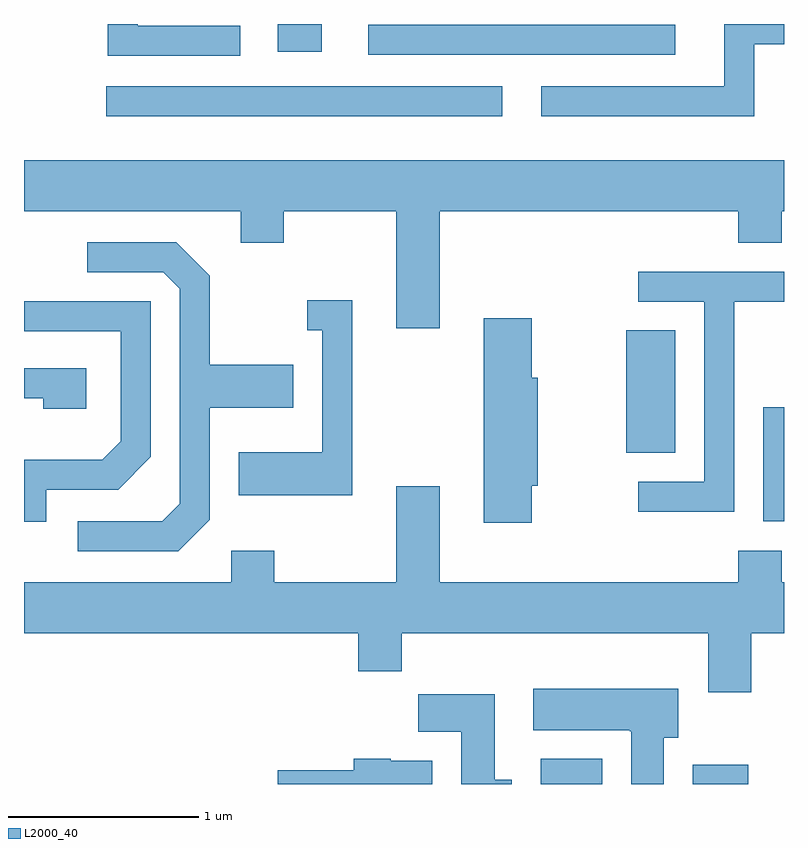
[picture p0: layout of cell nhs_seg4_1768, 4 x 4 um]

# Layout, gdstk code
import gdstk
lib = gdstk.Library(unit=1e-6, precision=1e-09)
def R(c, l, rs):  # rectangles x0, y0, x1, y1
    for r in rs: c.add(gdstk.rectangle(r[:2], r[2:], *l))
def P(c, l, *ps):  # polygons
    for p in ps: c.add(gdstk.Polygon(p, *l))
L2000_40 = (2000, 40)

nhs_seg4_1768 = lib.new_cell('nhs_seg4_1768')
R(nhs_seg4_1768, L2000_40, [(240.331,1253.982,240.654,1254.114), (241.131,1253.982,241.424,1254.084), (241.501,1255.366,241.611,1255.964), (240.781,1255.726,241.039,1256.369), (238.043,1257.496,240.128,1257.654), (239.423,1257.821,241.038,1257.979), (238.946,1257.836,239.179,1257.982)])
P(nhs_seg4_1768, L2000_40, [(241.454,1257.876),(241.611,1257.876),(241.611,1257.982),(241.296,1257.982),(241.296,1257.654),(240.333,1257.654),(240.333,1257.496),(241.454,1257.496)],
  [(238.748,1257.974),(238.209,1257.974),(238.209,1257.982),(238.051,1257.982),(238.051,1257.816),(238.748,1257.816)],
  [(239.799,1256.996),(241.371,1256.996),(241.371,1256.831),(241.599,1256.831),(241.599,1256.996),(241.611,1256.996),(241.611,1257.264),(237.611,1257.264),(237.611,1256.996),(238.751,1256.996),(238.751,1256.831),(238.979,1256.831),(238.979,1256.996),(239.571,1256.996),(239.571,1256.381),(239.799,1256.381)],
  [(238.589,1255.374),(238.589,1255.961),(239.029,1255.961),(239.029,1256.189),(238.589,1256.189),(238.589,1256.657),(238.412,1256.834),(237.943,1256.834),(237.943,1256.676),(238.344,1256.676),(238.431,1256.589),(238.431,1255.457),(238.339,1255.364),(237.893,1255.364),(237.893,1255.206),(238.422,1255.206)],
  [(241.349,1256.521),(241.611,1256.521),(241.611,1256.679),(240.843,1256.679),(240.843,1256.521),(241.191,1256.521),(241.191,1255.574),(240.843,1255.574),(240.843,1255.416),(241.349,1255.416)],
  [(239.339,1256.529),(239.103,1256.529),(239.103,1256.371),(239.181,1256.371),(239.181,1255.729),(238.741,1255.729),(238.741,1255.501),(239.339,1255.501)],
  [(237.729,1255.531),(238.107,1255.531),(238.279,1255.704),(238.279,1256.524),(237.611,1256.524),(237.611,1256.366),(238.121,1256.366),(238.121,1255.787),(238.024,1255.689),(237.611,1255.689),(237.611,1255.361),(237.729,1255.361)],
  [(240.284,1255.551),(240.314,1255.551),(240.314,1256.119),(240.284,1256.119),(240.284,1256.434),(240.031,1256.434),(240.031,1255.356),(240.284,1255.356)],
  [(237.939,1256.169),(237.611,1256.169),(237.611,1256.011),(237.711,1256.011),(237.711,1255.956),(237.939,1255.956)],
  [(241.439,1254.776),(241.611,1254.776),(241.611,1255.044),(241.599,1255.044),(241.599,1255.209),(241.371,1255.209),(241.371,1255.044),(239.799,1255.044),(239.799,1255.549),(239.571,1255.549),(239.571,1255.044),(238.929,1255.044),(238.929,1255.209),(238.701,1255.209),(238.701,1255.044),(237.611,1255.044),(237.611,1254.776),(239.371,1254.776),(239.371,1254.576),(239.599,1254.576),(239.599,1254.776),(241.211,1254.776),(241.211,1254.466),(241.439,1254.466)],
  [(240.979,1254.226),(241.054,1254.226),(241.054,1254.484),(240.291,1254.484),(240.291,1254.266),(240.8,1254.266),(240.8,1254.26),(240.806,1254.26),(240.806,1253.982),(240.979,1253.982)],
  [(240.179,1254.004),(240.089,1254.004),(240.089,1254.454),(239.686,1254.454),(239.686,1254.256),(239.911,1254.256),(239.911,1253.982),(240.179,1253.982)],
  [(239.759,1254.104),(239.54,1254.104),(239.54,1254.114),(239.346,1254.114),(239.346,1254.054),(238.946,1254.054),(238.946,1253.982),(239.759,1253.982)])

lib.write_gds('nhs_seg4_1768.gds')
